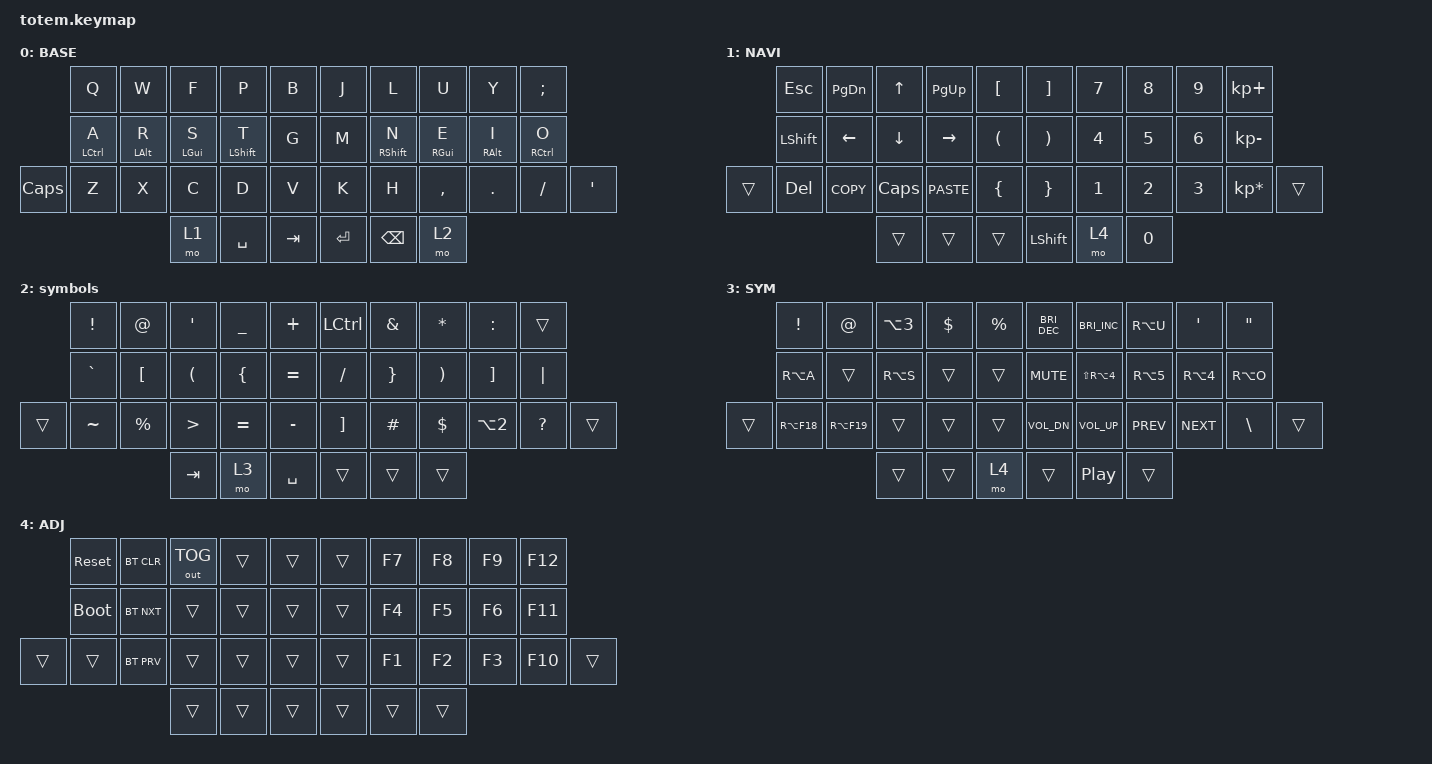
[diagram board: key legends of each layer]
//
//                                                        ▀▀▀▀▀     ▀▀▀▀▀          ▀▀█▀▀
//                                                        ▄▀▀▀▄  ▄  ▄▀▀▀▄  ▄  ▄▀▀▀▄  █  ▄▀▀▀▄
//                                                        █   █  █  █   █  █  █   █  █  █   █
//                                                         ▀▀▀   █   ▀▀▀   █   ▀▀▀   ▀   ▀▀▀
//                                                               █      ▄▄▄█▄▄▄    █   █  
//                                                               ▀      █  █  █     █▄█
//                                                             ▀▀▀▀▀    █  █  █      ▀
//                                                                      ▀  ▀  ▀
//
// ▄▄▄▄▄▄▄▄▄▄▄▄▄▄▄▄▄▄▄▄▄▄▄▄▄▄▄▄▄▄▄▄▄▄▄▄▄▄▄▄▄▄▄▄▄▄▄▄▄▄▄▄▄▄▄▄▄▄▄▄▄▄▄▄▄▄▄▄▄▄▄▄▄▄▄▄▄▄▄▄▄▄▄▄▄▄▄▄▄▄▄▄▄▄▄▄▄▄▄▄▄▄▄▄▄▄▄▄▄▄▄▄▄▄▄▄▄▄▄▄▄▄▄▄▄▄▄▄▄▄▄▄▄▄▄▄▄▄▄▄▄▄▄▄▄▄▄▄▄

#include <behaviors.dtsi>
#include <dt-bindings/zmk/bt.h>
#include <dt-bindings/zmk/keys.h>
#include <dt-bindings/zmk/outputs.h>

#define BASE 0
#define NAV  1
#define SYM  2
#define ADJ  3
#define TVP1 4
#define TVP2 5

&mt {
    quick-tap-ms = <150>;
    global-quick-tap;
    flavor = "tap-preferred";
    tapping-term-ms = <170>;
};

/ {
    combos {
        compatible = "zmk,combos";

        combo_esc {
            timeout-ms = <50>;
            key-positions = <1 2>;
            bindings = <&kp ESC>;
        };

        open-terminal {
            bindings = <&kp LC(GRAVE)>;
            key-positions = <22 23 24>;
        };
    };

    keymap {
        compatible = "zmk,keymap";

        // ▄▄▄▄▄▄▄▄▄▄▄▄▄▄▄▄▄▄▄▄▄▄▄▄▄▄▄▄▄▄▄▄▄▄▄▄▄▄▄▄▄▄▄▄▄▄▄▄▄▄▄▄▄▄▄▄▄▄▄▄▄▄▄▄▄▄▄▄▄▄▄▄▄▄▄▄▄▄▄▄▄▄▄▄▄▄▄▄▄▄▄▄▄▄▄▄▄▄▄▄▄▄▄▄▄▄▄▄▄▄▄▄▄▄▄▄▄▄▄▄▄▄▄▄▄▄▄▄▄▄▄▄▄▄▄▄▄▄▄▄▄▄▄▄▄▄▄▄▄

        base_layer {
            // ┏━━━━━━━━━━━━━━━━━━━━━━━━━━━━━━━━━━━━━━━┓

            label = "BASE";

            // ┗━━━━━━━━━━━━━━━━━━━━━━━━━━━━━━━━━━━━━━━┛
            //             ┏━━━━━━━━━━━┳━━━━━━━━━━━┳━━━━━━━━━━━┳━━━━━━━━━━━┳━━━━━━━━━━━┓   ┏━━━━━━━━━━━┳━━━━━━━━━━━┳━━━━━━━━━━━┳━━━━━━━━━━━┳━━━━━━━━━━━┓
            //             ┃     Q     ┃     W     ┃     F     ┃     P     ┃     G     ┃   ┃     J     ┃     L     ┃     U     ┃     Y     ┃     ;     ┃
            //             ┣━━━━━━━━━━━╋━━━━━━━━━━━╋━━━━━━━━━━━╋━━━━━━━━━━━╋━━━━━━━━━━━┫   ┣━━━━━━━━━━━╋━━━━━━━━━━━╋━━━━━━━━━━━╋━━━━━━━━━━━╋━━━━━━━━━━━┫
            //             ┃     A     ┃     R     ┃     S     ┃     T     ┃     D     ┃   ┃     H     ┃     N     ┃     E     ┃     I     ┃     O     ┃
            // ┏━━━━━━━━━━━╋━━━━━━━━━━━╋━━━━━━━━━━━╋━━━━━━━━━━━╋━━━━━━━━━━━╋━━━━━━━━━━━┫   ┣━━━━━━━━━━━╋━━━━━━━━━━━╋━━━━━━━━━━━╋━━━━━━━━━━━╋━━━━━━━━━━━╋━━━━━━━━━━━┓
            // ┃     Q     ┃     Z     ┃     X     ┃     C     ┃     V     ┃     B     ┃   ┃     K     ┃     M     ┃     ,     ┃     .     ┃     /     ┃     \     ┃
            // ┗━━━━━━━━━━━┻━━━━━━━━━━━┻━━━━━━━━━━━╋━━━━━━━━━━━╋━━━━━━━━━━━╋━━━━━━━━━━━┫   ┣━━━━━━━━━━━╋━━━━━━━━━━━╋━━━━━━━━━━━╋━━━━━━━━━━━┻━━━━━━━━━━━┻━━━━━━━━━━━┛
            //                                     ┃    DEL    ┃    TAB    ┃    SPC    ┃   ┃   ENTER   ┃           ┃   BSPC    ┃
            //                                     ┗━━━━━━━━━━━┻━━━━━━━━━━━┻━━━━━━━━━━━┛   ┗━━━━━━━━━━━┻━━━━━━━━━━━┻━━━━━━━━━━━┛

            bindings = <
              &kp Q               &kp W       &kp F       &kp P        &kp B          &kp J    &kp L          &kp U       &kp Y       &kp SEMI
              &mt LEFT_CONTROL A  &mt LALT R  &mt LGUI S  &mt LSHFT T  &kp G          &kp M    &mt RSHFT N    &mt RGUI E  &mt RALT I  &mt RIGHT_CONTROL O
&kp CAPSLOCK  &kp Z               &kp X       &kp C       &kp D        &kp V          &kp K    &kp H          &kp COMMA   &kp DOT     &kp FSLH             &kp SQT
                                              &mo 1       &kp SPACE    &kp TAB        &kp RET  &kp BACKSPACE  &mo 2
            >;
        };

        nav_layer {
            // ┏━━━━━━━━━━━━━━━━━━━━━━━━━━━━━━━━━━━━━━━┓

            label = "NAVI";

            // ┗━━━━━━━━━━━━━━━━━━━━━━━━━━━━━━━━━━━━━━━┛
            //             ┏━━━━━━━━━━━┳━━━━━━━━━━━┳━━━━━━━━━━━┳━━━━━━━━━━━┳━━━━━━━━━━━┓   ┏━━━━━━━━━━━┳━━━━━━━━━━━┳━━━━━━━━━━━┳━━━━━━━━━━━┳━━━━━━━━━━━┓
            //             ┃           ┃           ┃     UP    ┃           ┃     {     ┃   ┃     }     ┃     7     ┃     8     ┃     9     ┃     +     ┃
            //             ┣━━━━━━━━━━━╋━━━━━━━━━━━╋━━━━━━━━━━━╋━━━━━━━━━━━╋━━━━━━━━━━━┫   ┣━━━━━━━━━━━╋━━━━━━━━━━━╋━━━━━━━━━━━╋━━━━━━━━━━━╋━━━━━━━━━━━┫
            //             ┃   SHIFT   ┃   LEFT    ┃    DOWN   ┃   RIGHT   ┃     [     ┃   ┃     ]     ┃     4     ┃     5     ┃     6     ┃     -     ┃
            // ┏━━━━━━━━━━━╋━━━━━━━━━━━╋━━━━━━━━━━━╋━━━━━━━━━━━╋━━━━━━━━━━━╋━━━━━━━━━━━┫   ┣━━━━━━━━━━━╋━━━━━━━━━━━╋━━━━━━━━━━━╋━━━━━━━━━━━╋━━━━━━━━━━━╋━━━━━━━━━━━┓
            // ┃           ┃           ┃   P UP    ┃  C LOCK   ┃  P DOWN   ┃     (     ┃   ┃     )     ┃     1     ┃     2     ┃     3     ┃     *     ┃           ┃
            // ┗━━━━━━━━━━━┻━━━━━━━━━━━┻━━━━━━━━━━━╋━━━━━━━━━━━╋━━━━━━━━━━━╋━━━━━━━━━━━┫   ┣━━━━━━━━━━━╋━━━━━━━━━━━╋━━━━━━━━━━━╋━━━━━━━━━━━┻━━━━━━━━━━━┻━━━━━━━━━━━┛
            //                                     ┃           ┃    TAB    ┃    SPC    ┃   ┃    DEL    ┃     0     ┃           ┃
            //                                     ┗━━━━━━━━━━━┻━━━━━━━━━━━┻━━━━━━━━━━━┛   ┗━━━━━━━━━━━┻━━━━━━━━━━━┻━━━━━━━━━━━┛

            bindings = <
        &kp ESC    &kp PAGE_DOWN  &kp UP    &kp PAGE_UP  &kp LBKT    &kp RBKT        &kp N7  &kp N8  &kp N9  &kp KP_PLUS
        &kp LSHFT  &kp LEFT       &kp DOWN  &kp RIGHT    &kp LPAR    &kp RPAR        &kp N4  &kp N5  &kp N6  &kp KP_MINUS
&trans  &kp DEL    &kp K_COPY     &kp CAPS  &kp K_PASTE  &kp LBRC    &kp RBRC        &kp N1  &kp N2  &kp N3  &kp KP_MULTIPLY  &trans
                                  &trans    &trans       &trans      &kp LEFT_SHIFT  &mo 4   &kp N0
            >;
        };

        symbols {
            bindings = <
        &kp EXCLAMATION  &kp AT_SIGN  &kp SQT           &kp UNDERSCORE  &kp PLUS     &kp LCTRL  &kp AMPERSAND  &kp ASTERISK  &kp COLON         &trans
        &kp GRAVE        &kp LBKT     &kp LPAR          &kp LBRC        &kp EQUAL    &kp SLASH  &kp RBRC       &kp RPAR      &kp RBKT          &kp PIPE
&trans  &kp TILDE        &kp PERCENT  &kp GREATER_THAN  &kp EQUAL       &kp MINUS    &kp RBKT   &kp HASH       &kp DOLLAR    &kp LA(NUMBER_2)  &kp QUESTION  &trans
                                      &kp TAB           &mo 3           &kp SPACE    &trans     &trans         &trans
            >;
        };

        media {
            // ┏━━━━━━━━━━━━━━━━━━━━━━━━━━━━━━━━━━━━━━━┓

            label = "SYM";

            // ┗━━━━━━━━━━━━━━━━━━━━━━━━━━━━━━━━━━━━━━━┛
            //             ┏━━━━━━━━━━━┳━━━━━━━━━━━┳━━━━━━━━━━━┳━━━━━━━━━━━┳━━━━━━━━━━━┓   ┏━━━━━━━━━━━┳━━━━━━━━━━━┳━━━━━━━━━━━┳━━━━━━━━━━━┳━━━━━━━━━━━┓
            //             ┃     !     ┃     @     ┃     #     ┃     $     ┃     %     ┃   ┃     ˆ     ┃     &     ┃     Ü     ┃     '     ┃     "     ┃
            //             ┣━━━━━━━━━━━╋━━━━━━━━━━━╋━━━━━━━━━━━╋━━━━━━━━━━━╋━━━━━━━━━━━┫   ┣━━━━━━━━━━━╋━━━━━━━━━━━╋━━━━━━━━━━━╋━━━━━━━━━━━╋━━━━━━━━━━━┫
            //             ┃     Ä     ┃           ┃    SZ     ┃           ┃           ┃   ┃   MUTE    ┃   YEN     ┃   EURO    ┃  POUND    ┃     Ö     ┃
            // ┏━━━━━━━━━━━╋━━━━━━━━━━━╋━━━━━━━━━━━╋━━━━━━━━━━━╋━━━━━━━━━━━╋━━━━━━━━━━━┫   ┣━━━━━━━━━━━╋━━━━━━━━━━━╋━━━━━━━━━━━╋━━━━━━━━━━━╋━━━━━━━━━━━╋━━━━━━━━━━━┓
            // ┃           ┃  EMAIL1   ┃  EMAIL2   ┃           ┃           ┃           ┃   ┃   VOL-    ┃   VOL+    ┃   LAST    ┃   NEXT    ┃     \     ┃           ┃
            // ┗━━━━━━━━━━━┻━━━━━━━━━━━┻━━━━━━━━━━━╋━━━━━━━━━━━╋━━━━━━━━━━━╋━━━━━━━━━━━┫   ┣━━━━━━━━━━━╋━━━━━━━━━━━╋━━━━━━━━━━━╋━━━━━━━━━━━┻━━━━━━━━━━━┻━━━━━━━━━━━┛
            //                                     ┃           ┃    GIF    ┃    ADJ    ┃   ┃           ┃           ┃           ┃
            //                                     ┗━━━━━━━━━━━┻━━━━━━━━━━━┻━━━━━━━━━━━┛   ┗━━━━━━━━━━━┻━━━━━━━━━━━┻━━━━━━━━━━━┛

            bindings = <
        &kp EXCL     &kp AT       &kp LA(NUMBER_3)  &kp DLLR  &kp PRCNT    &kp C_BRIGHTNESS_DEC  &kp C_BRIGHTNESS_INC  &kp RA(U)   &kp SQT     &kp DQT
        &kp RA(A)    &trans       &kp RA(S)         &trans    &trans       &kp C_MUTE            &kp LS(RA(N4))        &kp RA(N5)  &kp RA(N4)  &kp RA(O)
&trans  &kp RA(F18)  &kp RA(F19)  &trans            &trans    &trans       &kp C_VOL_DN          &kp C_VOL_UP          &kp C_PREV  &kp C_NEXT  &kp BSLH   &trans
                                  &trans            &trans    &mo 4        &trans                &kp C_PP              &trans
            >;
        };

        adjust_layer {
            // ┏━━━━━━━━━━━━━━━━━━━━━━━━━━━━━━━━━━━━━━━┓

            label = "ADJ";

            // ┗━━━━━━━━━━━━━━━━━━━━━━━━━━━━━━━━━━━━━━━┛
            //             ┏━━━━━━━━━━━┳━━━━━━━━━━━┳━━━━━━━━━━━┳━━━━━━━━━━━┳━━━━━━━━━━━┓   ┏━━━━━━━━━━━┳━━━━━━━━━━━┳━━━━━━━━━━━┳━━━━━━━━━━━┳━━━━━━━━━━━┓
            //             ┃   RESET   ┃ BT CLEAR  ┃  OUT TOG  ┃           ┃           ┃   ┃           ┃    F7     ┃    F8     ┃    F9     ┃    F12    ┃
            //             ┣━━━━━━━━━━━╋━━━━━━━━━━━╋━━━━━━━━━━━╋━━━━━━━━━━━╋━━━━━━━━━━━┫   ┣━━━━━━━━━━━╋━━━━━━━━━━━╋━━━━━━━━━━━╋━━━━━━━━━━━╋━━━━━━━━━━━┫
            //             ┃ BOOTLOAD  ┃ BT NEXT   ┃           ┃           ┃           ┃   ┃           ┃    F4     ┃    F5     ┃    F6     ┃    F11    ┃
            // ┏━━━━━━━━━━━╋━━━━━━━━━━━╋━━━━━━━━━━━╋━━━━━━━━━━━╋━━━━━━━━━━━╋━━━━━━━━━━━┫   ┣━━━━━━━━━━━╋━━━━━━━━━━━╋━━━━━━━━━━━╋━━━━━━━━━━━╋━━━━━━━━━━━╋━━━━━━━━━━━┓
            // ┃           ┃           ┃ BT PREV   ┃           ┃           ┃           ┃   ┃           ┃    F1     ┃    F2     ┃    F3     ┃    F10    ┃           ┃
            // ┗━━━━━━━━━━━┻━━━━━━━━━━━┻━━━━━━━━━━━╋━━━━━━━━━━━╋━━━━━━━━━━━╋━━━━━━━━━━━┫   ┣━━━━━━━━━━━╋━━━━━━━━━━━╋━━━━━━━━━━━╋━━━━━━━━━━━┻━━━━━━━━━━━┻━━━━━━━━━━━┛
            //                                     ┃           ┃           ┃           ┃   ┃           ┃           ┃           ┃
            //                                     ┗━━━━━━━━━━━┻━━━━━━━━━━━┻━━━━━━━━━━━┛   ┗━━━━━━━━━━━┻━━━━━━━━━━━┻━━━━━━━━━━━┛

            bindings = <
        &sys_reset   &bt BT_CLR  &out OUT_TOG  &trans  &trans    &trans  &kp F7  &kp F8  &kp F9  &kp F12
        &bootloader  &bt BT_NXT  &trans        &trans  &trans    &trans  &kp F4  &kp F5  &kp F6  &kp F11
&trans  &trans       &bt BT_PRV  &trans        &trans  &trans    &trans  &kp F1  &kp F2  &kp F3  &kp F10  &trans
                                 &trans        &trans  &trans    &trans  &trans  &trans
            >;
        };
    };
};
